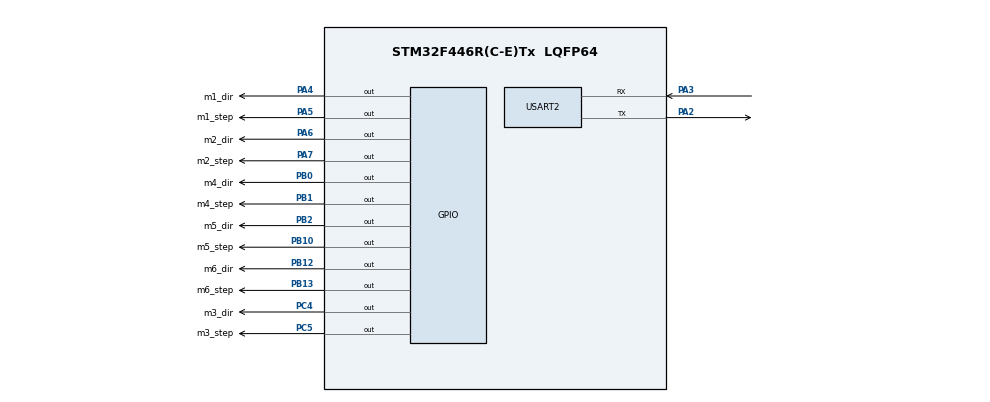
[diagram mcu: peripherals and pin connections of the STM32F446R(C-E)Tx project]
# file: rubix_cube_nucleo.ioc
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Mcu.Family=STM32F4
Mcu.Name=STM32F446R(C-E)Tx
Mcu.Package=LQFP64
NVIC.PriorityGroup=NVIC_PRIORITYGROUP_4
NVIC.USART2_IRQn=true\:0\:0\:false\:false\:true\:true\:true\:true
PA13.Mode=Serial_Wire
PA13.Signal=SYS_JTMS-SWDIO
PA14.Mode=Serial_Wire
PA14.Signal=SYS_JTCK-SWCLK
PA2.Mode=Asynchronous
PA2.Signal=USART2_TX
PA3.Mode=Asynchronous
PA3.Signal=USART2_RX
PA4.GPIO_Label=m1_dir
PA4.Signal=GPIO_Output
PA5.GPIO_Label=m1_step
PA5.Signal=GPIO_Output
PA6.GPIO_Label=m2_dir
PA6.Signal=GPIO_Output
PA7.GPIO_Label=m2_step
PA7.Signal=GPIO_Output
PB0.GPIO_Label=m4_dir
PB0.Signal=GPIO_Output
PB1.GPIO_Label=m4_step
PB1.Signal=GPIO_Output
PB10.GPIO_Label=m5_step
PB10.Signal=GPIO_Output
PB12.GPIO_Label=m6_dir
PB12.Signal=GPIO_Output
PB13.GPIO_Label=m6_step
PB13.Signal=GPIO_Output
PB2.GPIO_Label=m5_dir
PB2.Signal=GPIO_Output
PC4.GPIO_Label=m3_dir
PC4.Signal=GPIO_Output
PC5.GPIO_Label=m3_step
PC5.Signal=GPIO_Output
PH0-OSC_IN.Mode=HSE-External-Oscillator
PH0-OSC_IN.Signal=RCC_OSC_IN
PH1-OSC_OUT.Mode=HSE-External-Oscillator
PH1-OSC_OUT.Signal=RCC_OSC_OUT
ProjectManager.HeapSize=0x200
ProjectManager.StackSize=0x400
ProjectManager.TargetToolchain=STM32CubeIDE
RCC.CortexFreq_Value=16000000
RCC.USBFreq_Value=96000000
RCC.VCOOutputFreq_Value=192000000
USART2.VirtualMode=VM_ASYNC
board=custom

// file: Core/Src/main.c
/* USER CODE BEGIN Header */
/**
  ******************************************************************************
  * @file           : main.c
  * @brief          : Main program body
  ******************************************************************************
  * @attention
  *
  * Copyright (c) 2026 STMicroelectronics.
  * All rights reserved.
  *
  * This software is licensed under terms that can be found in the LICENSE file
  * in the root directory of this software component.
  * If no LICENSE file comes with this software, it is provided AS-IS.
  *
  ******************************************************************************
  */
/* USER CODE END Header */
#include "main.h"

/* USER CODE BEGIN Includes */
#include <string.h>
#include <stdlib.h>
void delay_us(uint32_t us);
/* USER CODE END Includes */

UART_HandleTypeDef huart2;

/* USER CODE BEGIN PV */
uint8_t FinalData[100];
uint8_t RxData[100];
uint8_t temp[1];

volatile uint8_t indx = 0;
volatile uint8_t msgReady = 0;
/* USER CODE END PV */

void SystemClock_Config(void);
static void MX_GPIO_Init(void);
static void MX_USART2_UART_Init(void);

/* USER CODE BEGIN 0 */
void sendMove(const char *move)
{
    HAL_UART_Transmit(&huart2,
                      (uint8_t *)move,
                      strlen(move),
                      HAL_MAX_DELAY);
}
void clockwise(uint32_t rotation,
               GPIO_TypeDef *DIR_PORT, uint16_t DIR_PIN,
               GPIO_TypeDef *STEP_PORT, uint16_t STEP_PIN)
{
    HAL_GPIO_WritePin(DIR_PORT, DIR_PIN, GPIO_PIN_SET);

    uint32_t steps = rotation * 1600;

    for (uint32_t i = 0; i < steps; i++)
    {
    	HAL_GPIO_WritePin(STEP_PORT, STEP_PIN, GPIO_PIN_SET);
    	delay_us(1000);

    	HAL_GPIO_WritePin(STEP_PORT, STEP_PIN, GPIO_PIN_RESET);
    	delay_us(1000);
    }
}

void anticlockwise(uint32_t rotation,
                   GPIO_TypeDef *DIR_PORT, uint16_t DIR_PIN,
                   GPIO_TypeDef *STEP_PORT, uint16_t STEP_PIN)
{
    HAL_GPIO_WritePin(DIR_PORT, DIR_PIN, GPIO_PIN_RESET);

    uint32_t steps = rotation * 1600;

    for (uint32_t i = 0; i < steps; i++)
    {
    	HAL_GPIO_WritePin(STEP_PORT, STEP_PIN, GPIO_PIN_SET);
    	delay_us(100);

    	HAL_GPIO_WritePin(STEP_PORT, STEP_PIN, GPIO_PIN_RESET);
    	delay_us(100);
    }
}

uint32_t random_move(void)
{
    return (rand() % 18) + 1;
}

/* M1 = U: GPIOA */

void U(void)
{
    clockwise(1, GPIOA, m1_dir_Pin, GPIOA, m1_step_Pin);
    sendMove("U ");
}

void U2(void)
{
    clockwise(2, GPIOA, m1_dir_Pin, GPIOA, m1_step_Pin);
    sendMove("U2 ");
}

void U_INVERSE(void)
{
    anticlockwise(1, GPIOA, m1_dir_Pin, GPIOA, m1_step_Pin);
    sendMove("U' ");
}

void R(void)
{
    clockwise(1, GPIOA, m2_dir_Pin, GPIOA, m2_step_Pin);
    sendMove("R ");
}

void R2(void)
{
    clockwise(2, GPIOA, m2_dir_Pin, GPIOA, m2_step_Pin);
    sendMove("R2 ");
}

void R_INVERSE(void)
{
    anticlockwise(1, GPIOA, m2_dir_Pin, GPIOA, m2_step_Pin);
    sendMove("R' ");
}

void F(void)
{
    clockwise(1, GPIOC, m3_dir_Pin, GPIOC, m3_step_Pin);
    sendMove("F ");
}

void F2(void)
{
    clockwise(2, GPIOC, m3_dir_Pin, GPIOC, m3_step_Pin);
    sendMove("F2 ");
}

void F_INVERSE(void)
{
    anticlockwise(1, GPIOC, m3_dir_Pin, GPIOC, m3_step_Pin);
    sendMove("F' ");
}

void D(void)
{
    clockwise(1, GPIOB, m4_dir_Pin, GPIOB, m4_step_Pin);
    sendMove("D ");
}

void D2(void)
{
    clockwise(2, GPIOB, m4_dir_Pin, GPIOB, m4_step_Pin);
    sendMove("D2 ");
}

void D_INVERSE(void)
{
    anticlockwise(1, GPIOB, m4_dir_Pin, GPIOB, m4_step_Pin);
    sendMove("D' ");
}

void L(void)
{
    clockwise(1, GPIOB, m5_dir_Pin, GPIOB, m5_step_Pin);
    sendMove("L ");
}

void L2(void)
{
    clockwise(2, GPIOB, m5_dir_Pin, GPIOB, m5_step_Pin);
    sendMove("L2 ");
}

void L_INVERSE(void)
{
    anticlockwise(1, GPIOB, m5_dir_Pin, GPIOB, m5_step_Pin);
    sendMove("L' ");
}

void B(void)
{
    clockwise(1, GPIOB, m6_dir_Pin, GPIOB, m6_step_Pin);
    sendMove("B ");
}

void B2(void)
{
    clockwise(2, GPIOB, m6_dir_Pin, GPIOB, m6_step_Pin);
    sendMove("B2 ");
}

void B_INVERSE(void)
{
    anticlockwise(1, GPIOB, m6_dir_Pin, GPIOB, m6_step_Pin);
    sendMove("B' ");
}

void executeMoves(char *sequence)
{
    char *move = strtok(sequence, " \t\r\n");

    while (move != NULL)
    {
        if (strcmp(move, "U") == 0) U();
        else if (strcmp(move, "U2") == 0) U2();
        else if (strcmp(move, "U'") == 0) U_INVERSE();

        else if (strcmp(move, "R") == 0) R();
        else if (strcmp(move, "R2") == 0) R2();
        else if (strcmp(move, "R'") == 0) R_INVERSE();

        else if (strcmp(move, "F") == 0) F();
        else if (strcmp(move, "F2") == 0) F2();
        else if (strcmp(move, "F'") == 0) F_INVERSE();

        else if (strcmp(move, "D") == 0) D();
        else if (strcmp(move, "D2") == 0) D2();
        else if (strcmp(move, "D'") == 0) D_INVERSE();

        else if (strcmp(move, "L") == 0) L();
        else if (strcmp(move, "L2") == 0) L2();
        else if (strcmp(move, "L'") == 0) L_INVERSE();

        else if (strcmp(move, "B") == 0) B();
        else if (strcmp(move, "B2") == 0) B2();
        else if (strcmp(move, "B'") == 0) B_INVERSE();

        move = strtok(NULL, " \t\r\n");
    }
}
void DWT_Delay_Init(void)
{
    CoreDebug->DEMCR |= CoreDebug_DEMCR_TRCENA_Msk;
    DWT->CYCCNT = 0;
    DWT->CTRL |= DWT_CTRL_CYCCNTENA_Msk;
}

void delay_us(uint32_t us)
{
    uint32_t start = DWT->CYCCNT;
    uint32_t ticks = us * (HAL_RCC_GetHCLKFreq() / 1000000U);

    while ((DWT->CYCCNT - start) < ticks);
}

/* USER CODE END 0 */

int main(void)
{

  /* MCU Configuration--------------------------------------------------------*/

  /* Reset of all peripherals, Initializes the Flash interface and the Systick. */
  HAL_Init();
  DWT_Delay_Init();

  /* Configure the system clock */
  SystemClock_Config();

  /* Initialize all configured peripherals */
  MX_GPIO_Init();
  MX_USART2_UART_Init();
  /* USER CODE BEGIN 2 */
  HAL_UART_Receive_IT(&huart2, temp, 1);
  /* USER CODE END 2 */
  srand(HAL_GetTick());
  for (uint32_t i = 0; i < 20; i++)
  {
      uint32_t a = random_move();

      switch (a)
      {
          case 1:  U();          break;
          case 2:  U2();         break;
          case 3:  U_INVERSE();  break;

          case 4:  R();          break;
          case 5:  R2();         break;
          case 6:  R_INVERSE();  break;

          case 7:  F();          break;
          case 8:  F2();         break;
          case 9:  F_INVERSE();  break;

          case 10: D();          break;
          case 11: D2();         break;
          case 12: D_INVERSE();  break;

          case 13: L();          break;
          case 14: L2();         break;
          case 15: L_INVERSE();  break;

          case 16: B();          break;
          case 17: B2();         break;
          case 18: B_INVERSE();  break;

          default: break;
      }
  }
  HAL_UART_Transmit(&huart2,
                    (uint8_t *)"\r\n",
                    2,
                    HAL_MAX_DELAY);

  /* Infinite loop */
  /* USER CODE BEGIN WHILE */

  while (1)
  {
      if (msgReady == 1)
      {
          char moves[100];

          __disable_irq();
          strcpy(moves, (char *)FinalData);
          msgReady = 0;
          __enable_irq();

          executeMoves(moves);

          HAL_UART_Transmit(&huart2,
                            (uint8_t *)"\r\nDone\r\n",
                            8,
                            HAL_MAX_DELAY);
      }
  }

  /* USER CODE END 3 */
}

void SystemClock_Config(void)
{
  RCC_OscInitTypeDef RCC_OscInitStruct = {0};
  RCC_ClkInitTypeDef RCC_ClkInitStruct = {0};

  /** Configure the main internal regulator output voltage
  */
  __HAL_RCC_PWR_CLK_ENABLE();
  __HAL_PWR_VOLTAGESCALING_CONFIG(PWR_REGULATOR_VOLTAGE_SCALE3);

  /** Initializes the RCC Oscillators according to the specified parameters
  * in the RCC_OscInitTypeDef structure.
  */
  RCC_OscInitStruct.OscillatorType = RCC_OSCILLATORTYPE_HSI;
  RCC_OscInitStruct.HSIState = RCC_HSI_ON;
  RCC_OscInitStruct.HSICalibrationValue = RCC_HSICALIBRATION_DEFAULT;
  RCC_OscInitStruct.PLL.PLLState = RCC_PLL_NONE;
  if (HAL_RCC_OscConfig(&RCC_OscInitStruct) != HAL_OK)
  {
    Error_Handler();
  }

  /** Initializes the CPU, AHB and APB buses clocks
  */
  RCC_ClkInitStruct.ClockType = RCC_CLOCKTYPE_HCLK|RCC_CLOCKTYPE_SYSCLK
                              |RCC_CLOCKTYPE_PCLK1|RCC_CLOCKTYPE_PCLK2;
  RCC_ClkInitStruct.SYSCLKSource = RCC_SYSCLKSOURCE_HSI;
  RCC_ClkInitStruct.AHBCLKDivider = RCC_SYSCLK_DIV1;
  RCC_ClkInitStruct.APB1CLKDivider = RCC_HCLK_DIV1;
  RCC_ClkInitStruct.APB2CLKDivider = RCC_HCLK_DIV1;

  if (HAL_RCC_ClockConfig(&RCC_ClkInitStruct, FLASH_LATENCY_0) != HAL_OK)
  {
    Error_Handler();
  }
}

static void MX_USART2_UART_Init(void)
{

  huart2.Instance = USART2;
  huart2.Init.BaudRate = 115200;
  huart2.Init.WordLength = UART_WORDLENGTH_8B;
  huart2.Init.StopBits = UART_STOPBITS_1;
  huart2.Init.Parity = UART_PARITY_NONE;
  huart2.Init.Mode = UART_MODE_TX_RX;
  huart2.Init.HwFlowCtl = UART_HWCONTROL_NONE;
  huart2.Init.OverSampling = UART_OVERSAMPLING_16;
  if (HAL_UART_Init(&huart2) != HAL_OK)
  {
    Error_Handler();
  }

}

static void MX_GPIO_Init(void)
{
  GPIO_InitTypeDef GPIO_InitStruct = {0};

  /* GPIO Ports Clock Enable */
  __HAL_RCC_GPIOH_CLK_ENABLE();
  __HAL_RCC_GPIOA_CLK_ENABLE();
  __HAL_RCC_GPIOC_CLK_ENABLE();
  __HAL_RCC_GPIOB_CLK_ENABLE();

  /*Configure GPIO pin Output Level */
  HAL_GPIO_WritePin(GPIOA, m1_dir_Pin|m1_step_Pin|m2_dir_Pin|m2_step_Pin, GPIO_PIN_RESET);

  /*Configure GPIO pin Output Level */
  HAL_GPIO_WritePin(GPIOC, m3_dir_Pin|m3_step_Pin, GPIO_PIN_RESET);

  /*Configure GPIO pin Output Level */
  HAL_GPIO_WritePin(GPIOB, m4_dir_Pin|m4_step_Pin|m5_dir_Pin|m5_step_Pin
                          |m6_dir_Pin|m6_step_Pin, GPIO_PIN_RESET);

  /*Configure GPIO pins : m1_dir_Pin m1_step_Pin m2_dir_Pin m2_step_Pin */
  GPIO_InitStruct.Pin = m1_dir_Pin|m1_step_Pin|m2_dir_Pin|m2_step_Pin;
  GPIO_InitStruct.Mode = GPIO_MODE_OUTPUT_PP;
  GPIO_InitStruct.Pull = GPIO_NOPULL;
  GPIO_InitStruct.Speed = GPIO_SPEED_FREQ_LOW;
  HAL_GPIO_Init(GPIOA, &GPIO_InitStruct);

  /*Configure GPIO pins : m3_dir_Pin m3_step_Pin */
  GPIO_InitStruct.Pin = m3_dir_Pin|m3_step_Pin;
  GPIO_InitStruct.Mode = GPIO_MODE_OUTPUT_PP;
  GPIO_InitStruct.Pull = GPIO_NOPULL;
  GPIO_InitStruct.Speed = GPIO_SPEED_FREQ_LOW;
  HAL_GPIO_Init(GPIOC, &GPIO_InitStruct);

  /*Configure GPIO pins : m4_dir_Pin m4_step_Pin m5_dir_Pin m5_step_Pin
                           m6_dir_Pin m6_step_Pin */
  GPIO_InitStruct.Pin = m4_dir_Pin|m4_step_Pin|m5_dir_Pin|m5_step_Pin
                          |m6_dir_Pin|m6_step_Pin;
  GPIO_InitStruct.Mode = GPIO_MODE_OUTPUT_PP;
  GPIO_InitStruct.Pull = GPIO_NOPULL;
  GPIO_InitStruct.Speed = GPIO_SPEED_FREQ_LOW;
  HAL_GPIO_Init(GPIOB, &GPIO_InitStruct);

}

/* USER CODE BEGIN 4 */

void HAL_UART_RxCpltCallback(UART_HandleTypeDef *huart)
{
    if (huart->Instance == USART2)
    {
        if (temp[0] == '\r' || temp[0] == '\n')
        {
            if (indx > 0)
            {
                memcpy(FinalData, RxData, indx);
                FinalData[indx] = '\0';

                indx = 0;
                msgReady = 1;
            }
        }
        else if (indx < sizeof(RxData) - 1)
        {
            RxData[indx++] = temp[0];
        }

        HAL_UART_Receive_IT(&huart2, temp, 1);
    }
}

/* USER CODE END 4 */

void Error_Handler(void)
{
  __disable_irq();
  while (1)
  {
  }
}
